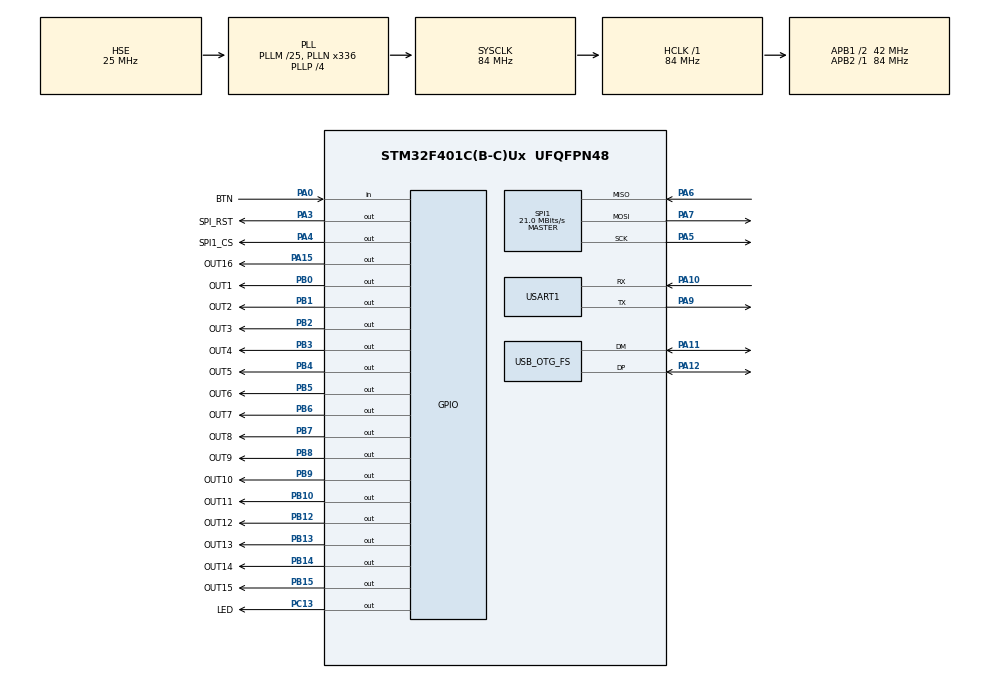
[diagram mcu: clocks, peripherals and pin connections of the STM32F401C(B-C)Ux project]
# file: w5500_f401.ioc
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Mcu.Family=STM32F4
Mcu.Name=STM32F401C(B-C)Ux
Mcu.Package=UFQFPN48
NVIC.OTG_FS_IRQn=true\:0\:0\:false\:false\:true\:false\:true\:true
NVIC.PriorityGroup=NVIC_PRIORITYGROUP_4
NVIC.SPI1_IRQn=true\:0\:0\:false\:false\:true\:true\:true\:true
NVIC.TIM1_UP_TIM10_IRQn=true\:15\:0\:false\:false\:true\:false\:true\:true
NVIC.TimeBase=TIM1_UP_TIM10_IRQn
NVIC.TimeBaseIP=TIM1
NVIC.USART1_IRQn=true\:0\:0\:false\:false\:true\:true\:true\:true
PA0-WKUP.GPIO_Label=BTN
PA0-WKUP.GPIO_PuPd=GPIO_PULLUP
PA0-WKUP.Signal=GPIO_Input
PA10.Mode=Asynchronous
PA10.Signal=USART1_RX
PA11.Mode=Device_Only
PA11.Signal=USB_OTG_FS_DM
PA12.Mode=Device_Only
PA12.Signal=USB_OTG_FS_DP
PA13.Mode=Serial_Wire
PA13.Signal=SYS_JTMS-SWDIO
PA14.Mode=Serial_Wire
PA14.Signal=SYS_JTCK-SWCLK
PA15.GPIO_Label=OUT16
PA15.Signal=GPIO_Output
PA3.GPIO_Label=SPI_RST
PA3.Signal=GPIO_Output
PA4.GPIO_Label=SPI1_CS
PA4.Signal=GPIO_Output
PA5.Mode=Full_Duplex_Master
PA5.Signal=SPI1_SCK
PA6.Mode=Full_Duplex_Master
PA6.Signal=SPI1_MISO
PA7.Mode=Full_Duplex_Master
PA7.Signal=SPI1_MOSI
PA9.Mode=Asynchronous
PA9.Signal=USART1_TX
PB0.GPIO_Label=OUT1
PB0.Signal=GPIO_Output
PB1.GPIO_Label=OUT2
PB1.Signal=GPIO_Output
PB10.GPIO_Label=OUT11
PB10.Signal=GPIO_Output
PB12.GPIO_Label=OUT12
PB12.Signal=GPIO_Output
PB13.GPIO_Label=OUT13
PB13.Signal=GPIO_Output
PB14.GPIO_Label=OUT14
PB14.Signal=GPIO_Output
PB15.GPIO_Label=OUT15
PB15.Signal=GPIO_Output
PB2.GPIO_Label=OUT3
PB2.Signal=GPIO_Output
PB3.GPIO_Label=OUT4
PB3.Signal=GPIO_Output
PB4.GPIO_Label=OUT5
PB4.Signal=GPIO_Output
PB5.GPIO_Label=OUT6
PB5.Signal=GPIO_Output
PB6.GPIO_Label=OUT7
PB6.Signal=GPIO_Output
PB7.GPIO_Label=OUT8
PB7.Signal=GPIO_Output
PB8.GPIO_Label=OUT9
PB8.Signal=GPIO_Output
PB9.GPIO_Label=OUT10
PB9.Signal=GPIO_Output
PC13-ANTI_TAMP.GPIO_Label=LED
PC13-ANTI_TAMP.Signal=GPIO_Output
PC14-OSC32_IN.Mode=LSE-External-Oscillator
PC14-OSC32_IN.Signal=RCC_OSC32_IN
PC15-OSC32_OUT.Mode=LSE-External-Oscillator
PC15-OSC32_OUT.Signal=RCC_OSC32_OUT
PH0\ -\ OSC_IN.Mode=HSE-External-Oscillator
PH0\ -\ OSC_IN.Signal=RCC_OSC_IN
PH1\ -\ OSC_OUT.Mode=HSE-External-Oscillator
PH1\ -\ OSC_OUT.Signal=RCC_OSC_OUT
ProjectManager.HeapSize=0x200
ProjectManager.StackSize=0x400
ProjectManager.TargetToolchain=STM32CubeIDE
RCC.48MHZClocksFreq_Value=48000000
RCC.AHBFreq_Value=84000000
RCC.APB1CLKDivider=RCC_HCLK_DIV2
RCC.APB1Freq_Value=42000000
RCC.APB1TimFreq_Value=84000000
RCC.APB2Freq_Value=84000000
RCC.APB2TimFreq_Value=84000000
RCC.CortexFreq_Value=84000000
RCC.EnbaleCSS=true
RCC.HCLKFreq_Value=84000000
RCC.HSE_VALUE=25000000
RCC.HSI_VALUE=16000000
RCC.PLLM=25
RCC.PLLN=336
RCC.PLLP=RCC_PLLP_DIV4
RCC.PLLQ=7
RCC.SYSCLKFreq_VALUE=84000000
RCC.SYSCLKSource=RCC_SYSCLKSOURCE_PLLCLK
RCC.VCOOutputFreq_Value=336000000
SPI1.BaudRatePrescaler=SPI_BAUDRATEPRESCALER_4
SPI1.CalculateBaudRate=21.0 MBits/s
SPI1.Direction=SPI_DIRECTION_2LINES
SPI1.Mode=SPI_MODE_MASTER
SPI1.VirtualType=VM_MASTER
TIM10.AutoReloadPreload=TIM_AUTORELOAD_PRELOAD_ENABLE
TIM10.Period=499
TIM10.Prescaler=41999
USART1.VirtualMode=VM_ASYNC
USB_DEVICE.CLASS_NAME_FS=CDC
USB_DEVICE.VirtualMode=Cdc
USB_DEVICE.VirtualModeFS=Cdc_FS
USB_OTG_FS.VirtualMode=Device_Only
VP_SYS_VS_tim1.Mode=TIM1
VP_TIM10_VS_ClockSourceINT.Mode=Enable_Timer
VP_USB_DEVICE_VS_USB_DEVICE_CDC_FS.Mode=CDC_FS
board=custom

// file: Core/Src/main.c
/* USER CODE BEGIN Header */
/**
  ******************************************************************************
  * @file           : main.c
  * @brief          : Main program body
  ******************************************************************************
  * @attention
  *
  * Copyright (c) 2023 STMicroelectronics.
  * All rights reserved.
  *
  * This software is licensed under terms that can be found in the LICENSE file
  * in the root directory of this software component.
  * If no LICENSE file comes with this software, it is provided AS-IS.
  *
  ******************************************************************************
  */
/* USER CODE END Header */
#include "main.h"
#include "usb_device.h"

/* USER CODE BEGIN Includes */
#include <string.h>
#include <stdarg.h>
#include <stdbool.h>
#include <ctype.h>
#include <stdlib.h>
#include "socket.h"
#include "dhcp.h"
#include "dns.h"

#define EEPROM_ADRESS_START 0x08030000

char str_rx2[25];
char flag_ok = 0;
uint8_t out1[8];
uint8_t out2[8];
char *get_url;
char post_url[25];
uint8_t flag_usb = 0;
uint8_t flag_ethernet = 0;
char ip1 = 0;
char ip2 = 0;
char ip3 = 0;
char ip4 = 0;
char gw1 = 0;
char gw2 = 0;
char gw3 = 0;
char gw4 = 0;
char flag_get_ip = 0;
char flag_set_ip = 0;

uint8_t CDC_Transmit_FS(uint8_t* Buf, uint16_t Len);
#define HTTP_SOCKET     0
#define PORT_TCPS		5000
#define DATA_BUF_SIZE   8196
char gDATABUF[DATA_BUF_SIZE];

wiz_NetInfo gWIZNETINFO = { .mac = {0x00, 0x08, 0xdc, 0xab, 0xcd, 0xef},
                            .ip = {192, 168, 0, 230},
                            .sn = {255, 255, 255, 000},
                            .gw = {192, 168, 0, 001},
                            .dns = {8, 8, 8, 8},
                            .dhcp = NETINFO_STATIC };

void USART1_Send (char chr);
void USART1_Send_String (char* str);
uint32_t ReadFromEEPROM (uint32_t address);
void WriteToEEPROM (uint32_t address, wiz_NetInfo value);

/* USER CODE END Includes */

/* USER CODE BEGIN PTD */

void send_ip_to_uart(){
	char ip1 = 0;
	char ip2 = 0;
	char ip3 = 0;
	char ip4 = 0;
	char out[18];
	ip1 = ReadFromEEPROM(EEPROM_ADRESS_START);
	ip2 = ReadFromEEPROM(EEPROM_ADRESS_START+4);
	ip3 = ReadFromEEPROM(EEPROM_ADRESS_START+8);
	ip4 = ReadFromEEPROM(EEPROM_ADRESS_START+12);
	sprintf(out, "%d.%d.%d.%d\n\r",ip1,ip2,ip3,ip4);
	USART1_Send_String(out);
}

void receive_ip_from_uart(){
	int ip1 = 0;
	int ip2 = 0;
	int ip3 = 0;
	int ip4 = 0;
	sscanf(str_rx2,"SET%d.%d.%d.%d\r", &ip1, &ip2, &ip3, &ip4);
	gWIZNETINFO.ip[0] = ip1;
	gWIZNETINFO.ip[1] = ip2;
	gWIZNETINFO.ip[2] = ip3;
	gWIZNETINFO.ip[3] = ip4;
	gWIZNETINFO.gw[0] = ip1;
	gWIZNETINFO.gw[1] = ip2;
	gWIZNETINFO.gw[2] = ip3;
	gWIZNETINFO.gw[3] = 1;
	WriteToEEPROM(EEPROM_ADRESS_START, gWIZNETINFO);
	HAL_Delay(200);

}

void Set_outputs (char* str_rx1)
{
	if ((str_rx1[0] == 'A')&&(str_rx1[1] == 'M')&&(str_rx1[2] == '1')&&(str_rx1[3] == '1')) out1[0] = 1;
	if ((str_rx1[0] == 'A')&&(str_rx1[1] == 'M')&&(str_rx1[2] == '1')&&(str_rx1[3] == '0')) out1[0] = 0;

	if ((str_rx1[0] == 'A')&&(str_rx1[1] == 'M')&&(str_rx1[2] == '1')&&(str_rx1[4] == '1')) out1[1] = 1;
	if ((str_rx1[0] == 'A')&&(str_rx1[1] == 'M')&&(str_rx1[2] == '1')&&(str_rx1[4] == '0')) out1[1] = 0;

	if ((str_rx1[0] == 'A')&&(str_rx1[1] == 'M')&&(str_rx1[2] == '1')&&(str_rx1[5] == '1')) out1[2] = 1;
	if ((str_rx1[0] == 'A')&&(str_rx1[1] == 'M')&&(str_rx1[2] == '1')&&(str_rx1[5] == '0')) out1[2] = 0;

	if ((str_rx1[0] == 'A')&&(str_rx1[1] == 'M')&&(str_rx1[2] == '1')&&(str_rx1[6] == '1')) out1[3] = 1;
	if ((str_rx1[0] == 'A')&&(str_rx1[1] == 'M')&&(str_rx1[2] == '1')&&(str_rx1[6] == '0')) out1[3] = 0;

	if ((str_rx1[0] == 'A')&&(str_rx1[1] == 'M')&&(str_rx1[2] == '1')&&(str_rx1[7] == '1')) out1[4] = 1;
	if ((str_rx1[0] == 'A')&&(str_rx1[1] == 'M')&&(str_rx1[2] == '1')&&(str_rx1[7] == '0')) out1[4] = 0;

	if ((str_rx1[0] == 'A')&&(str_rx1[1] == 'M')&&(str_rx1[2] == '1')&&(str_rx1[8] == '1')) out1[5] = 1;
	if ((str_rx1[0] == 'A')&&(str_rx1[1] == 'M')&&(str_rx1[2] == '1')&&(str_rx1[8] == '0')) out1[5] = 0;

	if ((str_rx1[0] == 'A')&&(str_rx1[1] == 'M')&&(str_rx1[2] == '1')&&(str_rx1[9] == '1')) out1[6] = 1;
	if ((str_rx1[0] == 'A')&&(str_rx1[1] == 'M')&&(str_rx1[2] == '1')&&(str_rx1[9] == '0')) out1[6] = 0;

	if ((str_rx1[0] == 'A')&&(str_rx1[1] == 'M')&&(str_rx1[2] == '1')&&(str_rx1[10] == '1')) out1[7] = 1;
	if ((str_rx1[0] == 'A')&&(str_rx1[1] == 'M')&&(str_rx1[2] == '1')&&(str_rx1[10] == '0')) out1[7] = 0;

	if ((str_rx1[0] == 'A')&&(str_rx1[1] == 'M')&&(str_rx1[2] == '1')&&(str_rx1[11] == '1')) out2[0] = 1;
	if ((str_rx1[0] == 'A')&&(str_rx1[1] == 'M')&&(str_rx1[2] == '1')&&(str_rx1[11] == '0')) out2[0] = 0;

	if ((str_rx1[0] == 'A')&&(str_rx1[1] == 'M')&&(str_rx1[2] == '1')&&(str_rx1[12] == '1')) out2[1] = 1;
	if ((str_rx1[0] == 'A')&&(str_rx1[1] == 'M')&&(str_rx1[2] == '1')&&(str_rx1[12] == '0')) out2[1] = 0;

	if ((str_rx1[0] == 'A')&&(str_rx1[1] == 'M')&&(str_rx1[2] == '1')&&(str_rx1[13] == '1')) out2[2] = 1;
	if ((str_rx1[0] == 'A')&&(str_rx1[1] == 'M')&&(str_rx1[2] == '1')&&(str_rx1[13] == '0')) out2[2] = 0;

	if ((str_rx1[0] == 'A')&&(str_rx1[1] == 'M')&&(str_rx1[2] == '1')&&(str_rx1[14] == '1')) out2[3] = 1;
	if ((str_rx1[0] == 'A')&&(str_rx1[1] == 'M')&&(str_rx1[2] == '1')&&(str_rx1[14] == '0')) out2[3] = 0;

	if ((str_rx1[0] == 'A')&&(str_rx1[1] == 'M')&&(str_rx1[2] == '1')&&(str_rx1[15] == '1')) out2[4] = 1;
	if ((str_rx1[0] == 'A')&&(str_rx1[1] == 'M')&&(str_rx1[2] == '1')&&(str_rx1[15] == '0')) out2[4] = 0;

	if ((str_rx1[0] == 'A')&&(str_rx1[1] == 'M')&&(str_rx1[2] == '1')&&(str_rx1[16] == '1')) out2[5] = 1;
	if ((str_rx1[0] == 'A')&&(str_rx1[1] == 'M')&&(str_rx1[2] == '1')&&(str_rx1[16] == '0')) out2[5] = 0;

	if ((str_rx1[0] == 'A')&&(str_rx1[1] == 'M')&&(str_rx1[2] == '1')&&(str_rx1[17] == '1')) out2[6] = 1;
	if ((str_rx1[0] == 'A')&&(str_rx1[1] == 'M')&&(str_rx1[2] == '1')&&(str_rx1[17] == '0')) out2[6] = 0;

	if ((str_rx1[0] == 'A')&&(str_rx1[1] == 'M')&&(str_rx1[2] == '1')&&(str_rx1[18] == '1')) out2[7] = 1;
	if ((str_rx1[0] == 'A')&&(str_rx1[1] == 'M')&&(str_rx1[2] == '1')&&(str_rx1[18] == '0')) out2[7] = 0;

	if ((str_rx1[0] == 'A')&&(str_rx1[1] == 'M')&&(flag_ok ==1)){ USART1_Send_String ("OK"); flag_ok=0;}

		if (out1[0] ==1) LL_GPIO_SetOutputPin(OUT1_GPIO_Port, OUT1_Pin); else LL_GPIO_ResetOutputPin(OUT1_GPIO_Port, OUT1_Pin);
		if (out1[1] ==1) LL_GPIO_SetOutputPin(OUT2_GPIO_Port, OUT2_Pin); else LL_GPIO_ResetOutputPin(OUT2_GPIO_Port, OUT2_Pin);
		if (out1[2] ==1) LL_GPIO_SetOutputPin(OUT3_GPIO_Port, OUT3_Pin); else LL_GPIO_ResetOutputPin(OUT3_GPIO_Port, OUT3_Pin);
		if (out1[3] ==1) LL_GPIO_SetOutputPin(OUT4_GPIO_Port, OUT4_Pin); else LL_GPIO_ResetOutputPin(OUT4_GPIO_Port, OUT4_Pin);
		if (out1[4] ==1) LL_GPIO_SetOutputPin(OUT5_GPIO_Port, OUT5_Pin); else LL_GPIO_ResetOutputPin(OUT5_GPIO_Port, OUT5_Pin);
		if (out1[5] ==1) LL_GPIO_SetOutputPin(OUT6_GPIO_Port, OUT6_Pin); else LL_GPIO_ResetOutputPin(OUT6_GPIO_Port, OUT6_Pin);
		if (out1[6] ==1) LL_GPIO_SetOutputPin(OUT7_GPIO_Port, OUT7_Pin); else LL_GPIO_ResetOutputPin(OUT7_GPIO_Port, OUT7_Pin);
		if (out1[7] ==1) LL_GPIO_SetOutputPin(OUT8_GPIO_Port, OUT8_Pin); else LL_GPIO_ResetOutputPin(OUT8_GPIO_Port, OUT8_Pin);

		if (out2[0] ==1) LL_GPIO_SetOutputPin(OUT9_GPIO_Port, OUT9_Pin); else LL_GPIO_ResetOutputPin(OUT9_GPIO_Port, OUT9_Pin);
		if (out2[1] ==1) LL_GPIO_SetOutputPin(OUT10_GPIO_Port, OUT10_Pin); else LL_GPIO_ResetOutputPin(OUT10_GPIO_Port, OUT10_Pin);
		if (out2[2] ==1) LL_GPIO_SetOutputPin(OUT11_GPIO_Port, OUT11_Pin); else LL_GPIO_ResetOutputPin(OUT11_GPIO_Port, OUT11_Pin);
		if (out2[3] ==1) LL_GPIO_SetOutputPin(OUT12_GPIO_Port, OUT12_Pin); else LL_GPIO_ResetOutputPin(OUT12_GPIO_Port, OUT12_Pin);
		if (out2[4] ==1) LL_GPIO_SetOutputPin(OUT13_GPIO_Port, OUT13_Pin); else LL_GPIO_ResetOutputPin(OUT13_GPIO_Port, OUT13_Pin);
		if (out2[5] ==1) LL_GPIO_SetOutputPin(OUT14_GPIO_Port, OUT14_Pin); else LL_GPIO_ResetOutputPin(OUT14_GPIO_Port, OUT14_Pin);
		if (out2[6] ==1) LL_GPIO_SetOutputPin(OUT15_GPIO_Port, OUT15_Pin); else LL_GPIO_ResetOutputPin(OUT15_GPIO_Port, OUT15_Pin);
		if (out2[7] ==1) LL_GPIO_SetOutputPin(OUT16_GPIO_Port, OUT16_Pin); else LL_GPIO_ResetOutputPin(OUT16_GPIO_Port, OUT16_Pin);

}

unsigned const char SVG[] = "<svg version=\"1.0\" xmlns=\"http://www.w3.org/2000/svg\""
		"width=\"99.000000pt\" height=\"35.000000pt\" viewBox=\"0 0 790.000000 284.000000\""
		 "preserveAspectRatio=\"xMidYMid meet\">"
		"<g transform=\"translate(0.000000,284.000000) scale(0.100000,-0.100000)\""
		"fill=\"#000000\" stroke=\"none\">"
		"<path d=\"M0 1420 l0 -1420 910 0 910 0 0 1420 0 1420 -910 0 -910 0 0 -1420z "
		"m1620 0 l0 -1220 -710 0 -710 0 0 1220 0 1220 710 0 710 0 0 -1220z\"/>"
		"<path d=\"M392 1983 l3 -458 103 -3 102 -3 0 161 0 160 270 0 c176 0 277 -4 "
		"293 -11 39 -18 47 -50 47 -184 l0 -125 106 0 106 0 -4 153 c-3 173 -15 206 "
		"-80 241 l-35 20 31 21 c69 46 101 130 93 241 -8 110 -54 181 -142 221 -36 16 "
		"-81 18 -468 21 l-427 3 2 -458z m789 244 c48 -37 53 -115 10 -158 l-29 -29 "
		"-281 0 -281 0 0 100 0 100 283 0 c206 -1 286 -4 298 -13z\"/>"
		"<path d=\"M394 1294 c-4 -14 -4 -164 -1 -332 4 -275 7 -314 25 -372 25 -76 71 "
		"-127 147 -162 49 -23 57 -23 453 -26 l402 -3 0 460 0 461 -105 0 -105 0 0 "
		"-366 0 -366 -258 4 c-375 5 -350 -27 -351 451 l-1 277 -100 0 c-99 0 -100 0 "
		"-106 -26z\"/>"
		"<path d=\"M2210 1980 l0 -460 100 0 100 0 0 315 c0 173 3 315 6 315 4 0 62 -52 "
		"131 -116 123 -116 124 -117 145 -98 12 11 69 63 127 117 l106 98 3 -315 2 "
		"-316 100 0 100 0 0 460 0 460 -56 0 c-96 0 -129 -16 -233 -114 -53 -50 -113 "
		"-106 -133 -125 l-38 -35 -119 117 c-138 135 -175 156 -273 157 l-68 0 0 -460z\"/>"
		"<path d=\"M3530 2433 c-102 -17 -166 -63 -197 -143 -15 -39 -17 -93 -21 -407 "
		"l-4 -363 106 0 106 0 0 155 0 155 250 0 250 0 0 -155 0 -155 105 0 105 0 0 "
		"460 0 460 -337 -1 c-186 -1 -349 -4 -363 -6z m490 -303 l0 -110 -250 0 -250 0 "
		"1 78 c1 142 -1 141 282 142 l217 0 0 -110z\"/>"
		"<path d=\"M4410 1980 l0 -461 353 3 c400 5 420 8 481 79 55 64 61 104 61 379 0 "
		"275 -6 315 -61 379 -61 71 -81 74 -481 79 l-353 3 0 -461z m644 249 c14 -7 30 "
		"-25 36 -42 13 -39 13 -375 0 -414 -17 -48 -41 -53 -265 -53 l-205 0 0 260 0 "
		"260 205 0 c131 0 213 -4 229 -11z\"/>"
		"<path d=\"M5680 2433 c-106 -18 -176 -72 -200 -156 -17 -60 -25 -449 -11 -533 "
		"15 -83 41 -136 83 -167 66 -48 84 -51 426 -55 l322 -3 0 100 0 101 -292 0 "
		"c-161 0 -298 4 -305 8 -19 12 -33 60 -33 113 l0 49 250 0 250 0 0 95 0 95 "
		"-250 0 -250 0 0 44 c0 49 15 96 33 108 7 4 137 8 290 8 l277 0 0 100 0 100 "
		"-282 -1 c-156 -1 -294 -4 -308 -6z\"/>"
		"<path d=\"M6580 1980 l0 -460 105 0 105 0 0 460 0 460 -105 0 -105 0 0 -460z\"/>"
		"<path d=\"M6980 1980 l0 -460 100 0 100 0 2 302 3 302 101 -125 c55 -68 140 "
		"-173 188 -234 173 -216 202 -236 339 -243 l87 -4 0 461 0 461 -100 0 -100 0 0 "
		"-301 c0 -187 -4 -298 -9 -294 -9 5 -48 52 -310 377 -56 70 -119 141 -139 158 "
		"-49 40 -112 60 -194 60 l-68 0 0 -460z\"/>"
		"<path d=\"M2217 1314 c-4 -4 -7 -211 -7 -461 l0 -453 105 0 105 0 0 161 0 160 "
		"226 -3 226 -3 24 -28 c23 -27 24 -35 24 -158 l0 -129 105 0 105 0 0 143 c0 "
		"166 -14 213 -75 248 l-36 22 34 23 c19 13 45 45 58 71 20 40 24 63 24 143 0 "
		"105 -16 149 -72 202 -62 59 -84 62 -478 66 -198 2 -364 0 -368 -4z m672 -209 "
		"c34 -17 41 -33 41 -89 0 -33 -6 -49 -26 -70 l-27 -26 -228 0 -229 0 0 100 0 "
		"100 220 0 c174 0 227 -3 249 -15z\"/>"
		"<path d=\"M3310 992 c0 -191 5 -353 11 -388 16 -90 48 -137 116 -171 l58 -28 "
		"368 -3 367 -3 0 460 0 461 -105 0 -105 0 0 -366 0 -366 -217 4 c-120 3 -226 8 "
		"-236 12 -44 20 -47 47 -47 391 l0 325 -105 0 -105 0 0 -328z\"/>"
		"<path d=\"M4625 1315 c-5 -2 -26 -6 -46 -9 -54 -9 -126 -62 -157 -115 -25 -42 "
		"-27 -55 -27 -146 0 -83 4 -107 22 -140 28 -52 57 -79 118 -107 47 -22 63 -23 "
		"295 -26 135 -1 255 -5 268 -7 62 -14 82 -90 38 -142 l-24 -28 -336 -3 -336 -3 "
		"0 -95 0 -95 368 3 c349 3 369 4 412 24 101 47 145 124 145 254 0 137 -51 217 "
		"-164 262 -51 19 -79 22 -306 25 -289 5 -295 6 -295 77 0 28 6 48 17 57 12 11 "
		"86 15 342 19 l326 5 3 75 c2 41 0 85 -3 97 l-5 23 -323 -1 c-177 0 -326 -2 "
		"-332 -4z\"/>"
		"<path d=\"M5653 1306 c-130 -32 -201 -138 -191 -287 6 -82 46 -161 99 -196 70 "
		"-46 116 -53 349 -53 126 0 230 -4 247 -10 49 -17 68 -84 38 -127 -26 -37 -76 "
		"-43 -377 -43 l-288 0 0 -95 0 -95 322 0 c370 0 407 5 482 72 58 50 80 109 81 "
		"208 0 93 -17 141 -67 196 -71 77 -112 86 -397 92 -221 4 -245 6 -262 23 -26 "
		"26 -25 83 1 109 19 19 33 20 320 20 l300 0 0 100 0 100 -302 -1 c-207 0 -319 "
		"-5 -355 -13z\"/>"
		"<path d=\"M6580 860 l0 -460 105 0 105 0 0 460 0 460 -105 0 -105 0 0 -460z\"/>"
		"<path d=\"M7189 1310 c-93 -16 -158 -67 -190 -150 -10 -26 -14 -125 -17 -397 "
		"l-3 -363 105 0 106 0 0 155 0 155 250 0 250 0 0 -155 0 -155 105 0 105 0 0 "
		"460 0 460 -332 -1 c-183 -1 -354 -5 -379 -9z m501 -300 l0 -110 -250 0 -250 0 "
		"0 75 c0 82 12 118 44 133 12 6 111 11 239 11 l217 1 0 -110z\"/>"
		"</g>"
		"</svg>";

unsigned const char javaScript[] = "<SCRIPT>\n"
		"var xmlHttp=createXmlHttpObject();\n"
		"function createXmlHttpObject(){\n"
		" if(window.XMLHttpRequest){\n"
		"    xmlHttp=new XMLHttpRequest();\n"
		" }else{\n"
		"    xmlHttp=new ActiveXObject('Microsoft.XMLHTTP');\n"
		" }\n"
		" return xmlHttp;\n"
		"}\n"
		"function process(){\n"
		" if(xmlHttp.readyState==0 || xmlHttp.readyState==4){\n"
		"   xmlHttp.open('PUT','xml',true);\n"
		"   xmlHttp.onreadystatechange=handleServerResponse;\n"
		"   xmlHttp.send(null);\n"
		" }\n"
		" setTimeout('process()',0.1);\n"
		"}\n"
		"function handleServerResponse(){\n"
		" if(xmlHttp.readyState==4 && xmlHttp.status==200){\n"
		"   xmlResponse=xmlHttp.responseXML;\n"
		"   xmldoc = xmlResponse.getElementsByTagName('response');\n"
		"   message = xmldoc[0].firstChild.nodeValue;\n"
		"   document.getElementById('runtime').innerHTML=message;\n"
		" }\n"
		"}\n"
		"</SCRIPT>\n";

void UART_Printf(const char* fmt, ...) {
    char buff[256];
    va_list args;
    va_start(args, fmt);
    vsnprintf(buff, sizeof(buff), fmt, args);
    CDC_Transmit_FS((uint8_t*)buff, strlen(buff));
    va_end(args);
}

uint8_t stat;
uint8_t reqnr;
char msg[10];
const char http_200_header[] =
        "HTTP/1.0 200 OK\r\n"
        "Content-Type: text/html; charset=windows-1251\r\n"
		"Server: STM32\r\n"
        "\r\n";

const char http_404_header[] =
        "HTTP/1.0 404 Not Found\r\n"
        "Content-Type: text/html;"
        "Server: STM32\r\n"
        "\r\n"
        "<pre>Page not found\r\n\r\n";

char webPage[]="<h1>Start page Remote console</h1>";

char startPage[]=
		"<head><title>Ethernet Remote Console</title></head>"
		"<h1>Ethernet remote control console</h1>"
		"<p><a href='https://ra0sms.com/ethernet-remote-control/'>Help information (in Russian)</a></p>"
		"<p><a href='/status'>Output status</a></p>";

void BuildStartPage (char* buf){
	strcpy(buf,http_200_header);
	strcat(buf, (char *)startPage);
	strcat(buf, (char *)SVG);

}

/* USER CODE END PTD */

SPI_HandleTypeDef hspi1;

/* USER CODE BEGIN PV */
void W5500_Select(void)
{
    HAL_GPIO_WritePin(SPI1_CS_GPIO_Port, SPI1_CS_Pin, GPIO_PIN_RESET);
}

void W5500_Unselect(void)
{
    HAL_GPIO_WritePin(SPI1_CS_GPIO_Port, SPI1_CS_Pin, GPIO_PIN_SET);
}

void W5500_ReadBuff(uint8_t* buff, uint16_t len)
{
    HAL_SPI_Receive(&hspi1, buff, len, HAL_MAX_DELAY);
}

void W5500_WriteBuff(uint8_t* buff, uint16_t len)
{
    HAL_SPI_Transmit(&hspi1, buff, len, HAL_MAX_DELAY);
}

uint8_t W5500_ReadByte(void)
{
    uint8_t byte;
    W5500_ReadBuff(&byte, sizeof(byte));
    return byte;
}

void W5500_WriteByte(uint8_t byte)
{
    W5500_WriteBuff(&byte, sizeof(byte));
}

int32_t loopback_tcps(uint8_t sn, char *buf, uint16_t port) {
	int32_t ret;
	uint32_t size = 0, sentsize = 0;
	char *url;

	switch (getSn_SR(sn)) {
	case SOCK_ESTABLISHED:
		if (getSn_IR(sn) & Sn_IR_CON) {
			UART_Printf("%d:Connected\r\n", sn);
			setSn_IR(sn, Sn_IR_CON);
		}
		if ((size = getSn_RX_RSR(sn)) > 0) {
			if (size > DATA_BUF_SIZE)
				size = DATA_BUF_SIZE;
			ret = recv(sn, buf, size);
			if (ret <= 0)
				return ret;
			sentsize = 0;
//=============================================
			if (memcmp(buf, "GET ", 4) == 0) {
				url = buf + 4;

				if (memcmp(url, "/status", 7) == 0) {
					strcpy(buf, (char *)post_url);
				} else if ((memcmp(url, "/ H", 3) == 0)) {
					BuildStartPage(buf);
				} else if (memcmp(url, "/AM1", 4) == 0) {
					get_url = url + 1;
					strncpy(post_url, (char *)get_url,19);
					Set_outputs(get_url);
					BuildStartPage(buf);
				}else

				{
					strcpy(buf, http_404_header);
				}
				//======================================================
				size = strlen(buf);
				while (size != sentsize) {
					ret = send(sn, buf + sentsize, size - sentsize);
					if (ret < 0) {
						close(sn);
						return ret;
					}
					sentsize += ret;
				}
			}
			disconnect(sn);
		}
		break;
	case SOCK_CLOSE_WAIT:
		UART_Printf("%d:CloseWait\r\n", sn);
		if ((ret = disconnect(sn)) != SOCK_OK)
			return ret;
		UART_Printf("%d:Closed\r\n", sn);
		break;
	case SOCK_INIT:
		UART_Printf("%d:Listen, port [%d]\r\n", sn, port);
		if ((ret = listen(sn)) != SOCK_OK)
			return ret;
		break;
	case SOCK_CLOSED:
		UART_Printf("%d:LBTStart\r\n", sn);
		if ((ret = socket(sn, Sn_MR_TCP, port, 0x00)) != sn)
			return ret;
		UART_Printf("%d:Opened\r\n", sn);
		break;
	default:
		break;
	}
	return 1;
}

/* USER CODE END PV */

void SystemClock_Config(void);
static void MX_GPIO_Init(void);
static void MX_TIM10_Init(void);
static void MX_SPI1_Init(void);
static void MX_USART1_UART_Init(void);
/* USER CODE BEGIN PFP */

void USART1_Send (char chr){
	while (!(USART1->SR & USART_SR_TC));
	USART1->DR = chr;
}

void USART1_Send_String (char* str){
	uint8_t i = 0;
	while(str[i])
	USART1_Send (str[i++]);
}

void WriteToEEPROM (uint32_t address, wiz_NetInfo value)
{
     HAL_FLASH_Unlock();
     __HAL_FLASH_CLEAR_FLAG(FLASH_FLAG_EOP | FLASH_FLAG_OPERR | FLASH_FLAG_WRPERR | FLASH_FLAG_PGAERR | FLASH_FLAG_PGSERR );
     FLASH_Erase_Sector(FLASH_SECTOR_5, VOLTAGE_RANGE_3);
     HAL_FLASH_Program(TYPEPROGRAM_WORD, address, value.ip[0]);
     HAL_FLASH_Program(TYPEPROGRAM_WORD, address+4, value.ip[1]);
     HAL_FLASH_Program(TYPEPROGRAM_WORD, address+8, value.ip[2]);
     HAL_FLASH_Program(TYPEPROGRAM_WORD, address+12, value.ip[3]);
     HAL_FLASH_Program(TYPEPROGRAM_WORD, address+16, value.gw[0]);
     HAL_FLASH_Program(TYPEPROGRAM_WORD, address+20, value.gw[1]);
     HAL_FLASH_Program(TYPEPROGRAM_WORD, address+24, value.gw[2]);
     HAL_FLASH_Program(TYPEPROGRAM_WORD, address+28, value.gw[3]);

     HAL_FLASH_Lock();
}

void ReadSettingsFromEEPROM() {
	gWIZNETINFO.ip[0] = ReadFromEEPROM(EEPROM_ADRESS_START);
	gWIZNETINFO.ip[1] = ReadFromEEPROM(EEPROM_ADRESS_START + 4);
	gWIZNETINFO.ip[2] = ReadFromEEPROM(EEPROM_ADRESS_START + 8);
	gWIZNETINFO.ip[3] = ReadFromEEPROM(EEPROM_ADRESS_START + 12);

	gWIZNETINFO.gw[0] = ReadFromEEPROM(EEPROM_ADRESS_START + 16);
	gWIZNETINFO.gw[1] = ReadFromEEPROM(EEPROM_ADRESS_START + 20);
	gWIZNETINFO.gw[2] = ReadFromEEPROM(EEPROM_ADRESS_START + 24);
	gWIZNETINFO.gw[3] = ReadFromEEPROM(EEPROM_ADRESS_START + 28);
}

uint32_t ReadFromEEPROM (uint32_t address)
{
  return (*(__IO uint32_t *)address);
}

/* USER CODE END PFP */

int main(void)
{

  /* MCU Configuration--------------------------------------------------------*/

  /* Reset of all peripherals, Initializes the Flash interface and the Systick. */
  HAL_Init();

  /* Configure the system clock */
  SystemClock_Config();

  /* Initialize all configured peripherals */
  MX_GPIO_Init();
  MX_TIM10_Init();
  MX_USB_DEVICE_Init();
  MX_SPI1_Init();
  MX_USART1_UART_Init();
  /* USER CODE BEGIN 2 */
	LL_TIM_EnableIT_UPDATE(TIM10);
	LL_TIM_EnableCounter(TIM10);
	LL_USART_Enable(USART1);
	LL_USART_EnableIT_RXNE(USART1);
	HAL_GPIO_WritePin(SPI_RST_GPIO_Port, SPI_RST_Pin, GPIO_PIN_RESET);
	HAL_Delay(1);
	HAL_GPIO_WritePin(SPI_RST_GPIO_Port, SPI_RST_Pin, GPIO_PIN_SET);
	HAL_Delay(1000);
	reg_wizchip_cs_cbfunc(W5500_Select, W5500_Unselect);
	reg_wizchip_spi_cbfunc(W5500_ReadByte, W5500_WriteByte);
	reg_wizchip_spiburst_cbfunc(W5500_ReadBuff, W5500_WriteBuff);
	uint8_t rx_tx_buff_sizes[] = { 2, 2, 2, 2, 2, 2, 2, 2 };
	wizchip_init(rx_tx_buff_sizes, rx_tx_buff_sizes);
	ReadSettingsFromEEPROM();
	if (gWIZNETINFO.ip[0] > 254){
		gWIZNETINFO.ip[0] = 192;
		gWIZNETINFO.ip[1] = 168;
		gWIZNETINFO.ip[2] = 0;
		gWIZNETINFO.ip[3] = 250;

		gWIZNETINFO.gw[0] = 192;
		gWIZNETINFO.gw[1] = 168;
		gWIZNETINFO.gw[2] = 0;
		gWIZNETINFO.gw[3] = 1;
		WriteToEEPROM(EEPROM_ADRESS_START, gWIZNETINFO);
		HAL_Delay(100);

	}

	wizchip_setnetinfo(&gWIZNETINFO);
	ctlnetwork(CN_SET_NETINFO, (void*) &gWIZNETINFO);
	HAL_Delay(1000);
  /* USER CODE END 2 */

  /* Infinite loop */
  /* USER CODE BEGIN WHILE */

	while (1) {
		stat = socket(HTTP_SOCKET, Sn_MR_TCP, 80, 0);
		/*if (stat != HTTP_SOCKET)
			UART_Printf("socket() failed, code = %d\r\n", stat);
		else
			UART_Printf("Socket created, connecting...\r\n");*/
		stat = listen(HTTP_SOCKET);
		/*if (stat != SOCK_OK)
			UART_Printf("listen() failed, code = %d\r\n", stat);
		else
			UART_Printf("listen() OK\r\n");*/
		while (getSn_SR(HTTP_SOCKET) == SOCK_LISTEN) {
			HAL_Delay(5);
			if (flag_usb == 1) {
				flag_usb = 0;
				strcpy(post_url,(char *) str_rx2);
				Set_outputs(str_rx2);
			}
			if (flag_get_ip == 1){
				flag_get_ip = 0;
				send_ip_to_uart();
			}
			if (flag_set_ip == 1){
				flag_set_ip = 0;
				receive_ip_from_uart();
			}
		}
		/*UART_Printf("Input connection\r\n");
		if (getSn_SR(HTTP_SOCKET) != SOCK_ESTABLISHED)
			UART_Printf("Error socket status\r\n");*/
		uint8_t rIP[4];
		getsockopt(HTTP_SOCKET, SO_DESTIP, rIP);
		UART_Printf("IP:  %d.%d.%d.%d\r\n", rIP[0], rIP[1], rIP[2], rIP[3]);

		loopback_tcps(HTTP_SOCKET, gDATABUF, 80);

		close(HTTP_SOCKET);

		/* USER CODE END WHILE */

	}
}

void SystemClock_Config(void)
{
  RCC_OscInitTypeDef RCC_OscInitStruct = {0};
  RCC_ClkInitTypeDef RCC_ClkInitStruct = {0};

  /** Configure the main internal regulator output voltage
  */
  __HAL_RCC_PWR_CLK_ENABLE();
  __HAL_PWR_VOLTAGESCALING_CONFIG(PWR_REGULATOR_VOLTAGE_SCALE2);

  /** Initializes the RCC Oscillators according to the specified parameters
  * in the RCC_OscInitTypeDef structure.
  */
  RCC_OscInitStruct.OscillatorType = RCC_OSCILLATORTYPE_HSE;
  RCC_OscInitStruct.HSEState = RCC_HSE_ON;
  RCC_OscInitStruct.PLL.PLLState = RCC_PLL_ON;
  RCC_OscInitStruct.PLL.PLLSource = RCC_PLLSOURCE_HSE;
  RCC_OscInitStruct.PLL.PLLM = 25;
  RCC_OscInitStruct.PLL.PLLN = 336;
  RCC_OscInitStruct.PLL.PLLP = RCC_PLLP_DIV4;
  RCC_OscInitStruct.PLL.PLLQ = 7;
  if (HAL_RCC_OscConfig(&RCC_OscInitStruct) != HAL_OK)
  {
    Error_Handler();
  }

  /** Initializes the CPU, AHB and APB buses clocks
  */
  RCC_ClkInitStruct.ClockType = RCC_CLOCKTYPE_HCLK|RCC_CLOCKTYPE_SYSCLK
                              |RCC_CLOCKTYPE_PCLK1|RCC_CLOCKTYPE_PCLK2;
  RCC_ClkInitStruct.SYSCLKSource = RCC_SYSCLKSOURCE_PLLCLK;
  RCC_ClkInitStruct.AHBCLKDivider = RCC_SYSCLK_DIV1;
  RCC_ClkInitStruct.APB1CLKDivider = RCC_HCLK_DIV2;
  RCC_ClkInitStruct.APB2CLKDivider = RCC_HCLK_DIV1;

  if (HAL_RCC_ClockConfig(&RCC_ClkInitStruct, FLASH_LATENCY_2) != HAL_OK)
  {
    Error_Handler();
  }

  /** Enables the Clock Security System
  */
  HAL_RCC_EnableCSS();
}

static void MX_SPI1_Init(void)
{

  /* SPI1 parameter configuration*/
  hspi1.Instance = SPI1;
  hspi1.Init.Mode = SPI_MODE_MASTER;
  hspi1.Init.Direction = SPI_DIRECTION_2LINES;
  hspi1.Init.DataSize = SPI_DATASIZE_8BIT;
  hspi1.Init.CLKPolarity = SPI_POLARITY_LOW;
  hspi1.Init.CLKPhase = SPI_PHASE_1EDGE;
  hspi1.Init.NSS = SPI_NSS_SOFT;
  hspi1.Init.BaudRatePrescaler = SPI_BAUDRATEPRESCALER_4;
  hspi1.Init.FirstBit = SPI_FIRSTBIT_MSB;
  hspi1.Init.TIMode = SPI_TIMODE_DISABLE;
  hspi1.Init.CRCCalculation = SPI_CRCCALCULATION_DISABLE;
  hspi1.Init.CRCPolynomial = 10;
  if (HAL_SPI_Init(&hspi1) != HAL_OK)
  {
    Error_Handler();
  }

}

static void MX_TIM10_Init(void)
{

  LL_TIM_InitTypeDef TIM_InitStruct = {0};

  /* Peripheral clock enable */
  LL_APB2_GRP1_EnableClock(LL_APB2_GRP1_PERIPH_TIM10);

  /* TIM10 interrupt Init */
  NVIC_SetPriority(TIM1_UP_TIM10_IRQn, NVIC_EncodePriority(NVIC_GetPriorityGrouping(),15, 0));
  NVIC_EnableIRQ(TIM1_UP_TIM10_IRQn);

  TIM_InitStruct.Prescaler = 41999;
  TIM_InitStruct.CounterMode = LL_TIM_COUNTERMODE_UP;
  TIM_InitStruct.Autoreload = 499;
  TIM_InitStruct.ClockDivision = LL_TIM_CLOCKDIVISION_DIV1;
  LL_TIM_Init(TIM10, &TIM_InitStruct);
  LL_TIM_EnableARRPreload(TIM10);

}

static void MX_USART1_UART_Init(void)
{

  LL_USART_InitTypeDef USART_InitStruct = {0};

  LL_GPIO_InitTypeDef GPIO_InitStruct = {0};

  /* Peripheral clock enable */
  LL_APB2_GRP1_EnableClock(LL_APB2_GRP1_PERIPH_USART1);

  LL_AHB1_GRP1_EnableClock(LL_AHB1_GRP1_PERIPH_GPIOA);
  /**USART1 GPIO Configuration
  PA9   ------> USART1_TX
  PA10   ------> USART1_RX
  */
  GPIO_InitStruct.Pin = LL_GPIO_PIN_9|LL_GPIO_PIN_10;
  GPIO_InitStruct.Mode = LL_GPIO_MODE_ALTERNATE;
  GPIO_InitStruct.Speed = LL_GPIO_SPEED_FREQ_VERY_HIGH;
  GPIO_InitStruct.OutputType = LL_GPIO_OUTPUT_PUSHPULL;
  GPIO_InitStruct.Pull = LL_GPIO_PULL_NO;
  GPIO_InitStruct.Alternate = LL_GPIO_AF_7;
  LL_GPIO_Init(GPIOA, &GPIO_InitStruct);

  /* USART1 interrupt Init */
  NVIC_SetPriority(USART1_IRQn, NVIC_EncodePriority(NVIC_GetPriorityGrouping(),0, 0));
  NVIC_EnableIRQ(USART1_IRQn);

  USART_InitStruct.BaudRate = 115200;
  USART_InitStruct.DataWidth = LL_USART_DATAWIDTH_8B;
  USART_InitStruct.StopBits = LL_USART_STOPBITS_1;
  USART_InitStruct.Parity = LL_USART_PARITY_NONE;
  USART_InitStruct.TransferDirection = LL_USART_DIRECTION_TX_RX;
  USART_InitStruct.HardwareFlowControl = LL_USART_HWCONTROL_NONE;
  USART_InitStruct.OverSampling = LL_USART_OVERSAMPLING_16;
  LL_USART_Init(USART1, &USART_InitStruct);
  LL_USART_ConfigAsyncMode(USART1);
  LL_USART_Enable(USART1);

}

static void MX_GPIO_Init(void)
{
  LL_GPIO_InitTypeDef GPIO_InitStruct = {0};

  /* GPIO Ports Clock Enable */
  LL_AHB1_GRP1_EnableClock(LL_AHB1_GRP1_PERIPH_GPIOC);
  LL_AHB1_GRP1_EnableClock(LL_AHB1_GRP1_PERIPH_GPIOH);
  LL_AHB1_GRP1_EnableClock(LL_AHB1_GRP1_PERIPH_GPIOA);
  LL_AHB1_GRP1_EnableClock(LL_AHB1_GRP1_PERIPH_GPIOB);

  /**/
  LL_GPIO_ResetOutputPin(LED_GPIO_Port, LED_Pin);

  /**/
  LL_GPIO_ResetOutputPin(GPIOA, SPI_RST_Pin|SPI1_CS_Pin|OUT16_Pin);

  /**/
  LL_GPIO_ResetOutputPin(GPIOB, OUT1_Pin|OUT2_Pin|OUT3_Pin|OUT11_Pin
                          |OUT12_Pin|OUT13_Pin|OUT14_Pin|OUT15_Pin
                          |OUT4_Pin|OUT5_Pin|OUT6_Pin|OUT7_Pin
                          |OUT8_Pin|OUT9_Pin|OUT10_Pin);

  /**/
  GPIO_InitStruct.Pin = LED_Pin;
  GPIO_InitStruct.Mode = LL_GPIO_MODE_OUTPUT;
  GPIO_InitStruct.Speed = LL_GPIO_SPEED_FREQ_LOW;
  GPIO_InitStruct.OutputType = LL_GPIO_OUTPUT_PUSHPULL;
  GPIO_InitStruct.Pull = LL_GPIO_PULL_NO;
  LL_GPIO_Init(LED_GPIO_Port, &GPIO_InitStruct);

  /**/
  GPIO_InitStruct.Pin = BTN_Pin;
  GPIO_InitStruct.Mode = LL_GPIO_MODE_INPUT;
  GPIO_InitStruct.Pull = LL_GPIO_PULL_UP;
  LL_GPIO_Init(BTN_GPIO_Port, &GPIO_InitStruct);

  /**/
  GPIO_InitStruct.Pin = SPI_RST_Pin|SPI1_CS_Pin|OUT16_Pin;
  GPIO_InitStruct.Mode = LL_GPIO_MODE_OUTPUT;
  GPIO_InitStruct.Speed = LL_GPIO_SPEED_FREQ_LOW;
  GPIO_InitStruct.OutputType = LL_GPIO_OUTPUT_PUSHPULL;
  GPIO_InitStruct.Pull = LL_GPIO_PULL_NO;
  LL_GPIO_Init(GPIOA, &GPIO_InitStruct);

  /**/
  GPIO_InitStruct.Pin = OUT1_Pin|OUT2_Pin|OUT3_Pin|OUT11_Pin
                          |OUT12_Pin|OUT13_Pin|OUT14_Pin|OUT15_Pin
                          |OUT4_Pin|OUT5_Pin|OUT6_Pin|OUT7_Pin
                          |OUT8_Pin|OUT9_Pin|OUT10_Pin;
  GPIO_InitStruct.Mode = LL_GPIO_MODE_OUTPUT;
  GPIO_InitStruct.Speed = LL_GPIO_SPEED_FREQ_LOW;
  GPIO_InitStruct.OutputType = LL_GPIO_OUTPUT_PUSHPULL;
  GPIO_InitStruct.Pull = LL_GPIO_PULL_NO;
  LL_GPIO_Init(GPIOB, &GPIO_InitStruct);

}

void HAL_TIM_PeriodElapsedCallback(TIM_HandleTypeDef *htim)
{
  if (htim->Instance == TIM1) {
    HAL_IncTick();
  }
}

void Error_Handler(void)
{
  __disable_irq();
  while (1)
  {
  }
}
